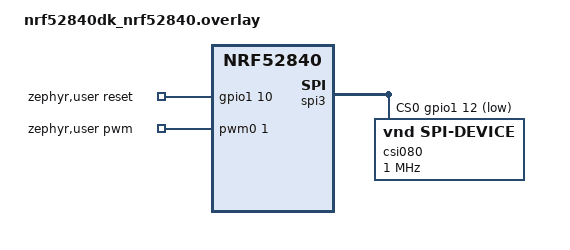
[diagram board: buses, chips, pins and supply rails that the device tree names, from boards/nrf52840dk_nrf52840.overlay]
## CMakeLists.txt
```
cmake_minimum_required(VERSION 3.20.0)
find_package(Zephyr REQUIRED HINTS $ENV{ZEPHYR_BASE})

project(CSI080)

target_sources(app PRIVATE src/main.c)
target_sources(app PRIVATE src/spi_drv.c)
target_sources(app PRIVATE src/uart_drv.c)
target_sources(app PRIVATE src/operations.c)
```

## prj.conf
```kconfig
CONFIG_LOG=y
CONFIG_CBPRINTF_FP_SUPPORT=y
CONFIG_RESET_ON_FATAL_ERROR=n
CONFIG_GPIO=y
CONFIG_SPI=y
CONFIG_STDOUT_CONSOLE=y
CONFIG_TIMER=y
CONFIG_PWM=y
CONFIG_SERIAL=y
CONFIG_UART_ASYNC_API=y
CONFIG_NUM_COOP_PRIORITIES=5
CONFIG_NUM_PREEMPT_PRIORITIES=5
CONFIG_BOOT_BANNER_STRING="Initializing NeuroSense"
CONFIG_IDLE_STACK_SIZE=640
CONFIG_PRIVILEGED_STACK_SIZE=2048
CONFIG_MPSL_WORK_STACK_SIZE=2048
CONFIG_UART_0_NRF_TX_BUFFER_SIZE=64
```

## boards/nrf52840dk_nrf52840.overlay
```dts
#include <zephyr/dt-bindings/gpio/gpio.h>

// Disables unused interfaces
&i2c0 { status = "disabled";};
&spi1 { status = "disabled";};
&i2c1 { status = "disabled";};
&spi0 { status = "disabled";};
&led0 { status = "disabled";};



/ {
    zephyr,user { // Zephyr user node to set PWM for clock and reset pin
        pwms = <&pwm0 1 PWM_HZ(1000000) PWM_POLARITY_NORMAL>; 
        reset-gpios = <&gpio1 10 GPIO_ACTIVE_HIGH>;
    };
};

&pwm0_default { // Output pin for PWM clock
    group2 {
        psels = <NRF_PSEL(PWM_OUT1, 1, 11)>;
    };
};

&spi3 { // Configures SPI
    compatible = "nordic,nrf-spim";
    status = "okay";
    cs-gpios = <&gpio1 12 GPIO_ACTIVE_LOW>;
    csi080: csi080-spi@0 {
        compatible = "vnd,spi-device";
        reg = <0>;
        spi-max-frequency = <DT_FREQ_M(1)>;
    };
};
```

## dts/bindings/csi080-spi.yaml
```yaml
# Test SPI device driver. Not currently used.

description: Cirtec CSI080 Neural Impulse Sensor

compatible: "csi080-spi"

include: "spi-device.yaml"
```

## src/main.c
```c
#include <zephyr/kernel.h>
#include <zephyr/logging/log.h>
#include <zephyr/device.h>
#include <zephyr/devicetree.h>
#include <zephyr/drivers/gpio.h>
#include <stdio.h>
#include <string.h>
#include <zephyr/drivers/pwm.h>
#include "spi_drv.h"
#include "uart_drv.h"
#include "operations.h"
#include "defs.h"


/* Activate logging capability at the info level */
LOG_MODULE_REGISTER(CSI080_MAIN, LOG_LEVEL_INF);


/* Define and initialize FIFO queue and semaphores.
Prevents SPI and UART overlap. */
K_FIFO_DEFINE(uart_queue);
K_SEM_DEFINE(uart_sem, 1, 1);
K_SEM_DEFINE(decode_sem, 0, 1);
K_SEM_DEFINE(reset_sem, 0, 1);
K_TIMER_DEFINE(ch_read_timer,NULL,NULL);



/* Configure GPIO */
static const struct gpio_dt_spec button0 = GPIO_DT_SPEC_GET(SW0_NODE, gpios);
static const struct gpio_dt_spec button1 = GPIO_DT_SPEC_GET(SW1_NODE, gpios);
static const struct gpio_dt_spec reset = GPIO_DT_SPEC_GET(USER_NODE, reset_gpios);

/* Configure PWM */
static const struct pwm_dt_spec clk0 = PWM_DT_SPEC_GET_BY_IDX(USER_NODE, 0);



/**
 * @brief Functional test values for 1 channel 
 */
void ch1config(void)
{
        uint8_t size = 3;
        uint8_t reg, value;
        int valid = 0;

        /* Enable bandgap reference. All channels off. */
        reg = CONTROL_3, value = 0x20;
        csi080_spi_write(reg, value);
        valid = valid + write_validate(reg, value, size);

        /* Configure bandgap trims */
        reg = CONTROL_2, value = 0x74;
        csi080_spi_write(reg, value);
        valid = valid + write_validate(reg, value, size);

        /* Set Ch1=E1E2, Ch2=E3E4, Ch3=E5E6, Ch4=E7E8
        Disable capacitor bleed down */
        reg = CONTROL_1, value = 0x50;
        csi080_spi_write(reg, value);
        valid = valid + write_validate(reg, value, size);

        /* Set HPF = 3 Hz, Gain = 4 V/V */
        reg = CH1CONFIG_A, value = 0x90;
        csi080_spi_write(reg, value);
        valid = valid + write_validate(reg, value, size);

        /* Enable bandgap reference. Enable Ch1 */
        reg = CONTROL_3, value = 0x21;
        csi080_spi_write(reg, value);
        valid = valid + write_validate(reg, value, size);

        /* Disable Ch1 Resets */
        reg = CH1CONFIG_B, value = 0x00;
        csi080_spi_write(reg, value);
        valid = valid + write_validate(reg, value, size);

        // k_sleep(K_MSEC(500));

        if (valid == 0)
        {
                printf("Registers Set for 1 Channel\n");
        }

        else
        {
                printf("Validation Failure\r\n");
        }
}

void ch4config(void)
{
        uint8_t size = 3;
        uint8_t reg, value;
        int valid = 0;

        /* Enable bandgap reference. All channels off. */
        reg = CONTROL_3, value = 0x20;
        csi080_spi_write(reg, value);
        valid = valid + write_validate(reg, value, size);

        /* Configure bandgap trims */
        reg = CONTROL_2, value = 0x74;
        csi080_spi_write(reg, value);
        valid = valid + write_validate(reg, value, size);

        /* Set Ch1=E1E2, Ch2=E3E4, Ch3=E5E6, Ch4=E7E8
        Disable capacitor bleed down */
        reg = CONTROL_1, value = 0x50;
        csi080_spi_write(reg, value);
        valid = valid + write_validate(reg, value, size);

        /* Set Ch1 HPF = 3 Hz, Gain = 4 V/V */
        reg = CH1CONFIG_A, value = 0x92;
        csi080_spi_write(reg, value);
        valid = valid + write_validate(reg, value, size);

        /* Set Ch2 HPF = 3 Hz, Gain = 4 V/V */
        reg = CH2CONFIG_A, value = 0x92;
        csi080_spi_write(reg, value);
        valid = valid + write_validate(reg, value, size);

        /* Set Ch3 HPF = 3 Hz, Gain = 4 V/V */
        reg = CH3CONFIG_A, value = 0x92;
        csi080_spi_write(reg, value);
        valid = valid + write_validate(reg, value, size);

        /* Set Ch4 HPF = 3 Hz, Gain = 4 V/V */
        reg = CH4CONFIG_A, value = 0x92;
        csi080_spi_write(reg, value);
        valid = valid + write_validate(reg, value, size);

        /* Enable bandgap reference. Enable all Channels */
        reg = CONTROL_3, value = 0x2F;
        csi080_spi_write(reg, value);
        valid = valid + write_validate(reg, value, size);

        /* Disable Ch1 Resets */
        reg = CH1CONFIG_B, value = 0x00;
        csi080_spi_write(reg, value);
        valid = valid + write_validate(reg, value, size);

        /* Disable Ch2 Resets */
        reg = CH2CONFIG_B, value = 0x00;
        csi080_spi_write(reg, value);
        valid = valid + write_validate(reg, value, size);

        /* Disable Ch3 Resets */
        reg = CH3CONFIG_B, value = 0x00;
        csi080_spi_write(reg, value);
        valid = valid + write_validate(reg, value, size);

        /* Disable Ch4 Resets */
        reg = CH4CONFIG_B, value = 0x00;
        csi080_spi_write(reg, value);
        valid = valid + write_validate(reg, value, size);

        // k_sleep(K_MSEC(500));

        if (valid == 0)
        {
                printf("Registers Set for All Channels\n");
        }

        else
        {
                printf("Validation Failure\r\n");
        }
}


/**
 * @brief Combines high and low data bytes into single variable
 * 
 * @param high Upper 8 bits of channel data
 * @param low Lower 8 bits of channel data
 * 
 * @retval 16-bit combined channel data
 */
uint16_t concat(uint8_t high, uint8_t low)
{
        /* Shifts high right 8 bits and appends low */
        return (high << 8) | low;
}


/**
 * @brief Reads data from channel one and displays in mV
 */
void ch1readdata(void) /* Make ch#readdata(chan) 
                        or merge into "data_collect"*/
{
        uint8_t size = 4;
        uint8_t reg, data[size];
        uint16_t data_out;
        float v_out;

        reg = DATA_CH1L; /* Burst read also reads from DATA_CH1H */
        csi080_spi_read(reg, size, data);
        data_out = concat(data[3], data[2]);
        v_out = data_out * 24.4;
        printf("%f\n",v_out/1000);
}


/**
 * @brief Clock test function. Delete in final version.
 */
void dmuxupdate(void)
{
        uint8_t reg, value, value2, value3;
        reg = 0x15;
        value = 0x03;
        value2 = 0x20;
        value3 = 0x21;

        printf("Enabling test mode\n");
        csi080_spi_write(reg, value);
        csi080_spi_write(reg, value2);
        csi080_spi_write(reg, value3);

        reg = 0x017;
        value = 0x20;
        printf("Setting DMUX out to clocks\n");
        csi080_spi_write(reg, value);
        k_sleep(K_MSEC(500));
}


/**
 * @brief Reads all register values for testing. Delete in final version
 */
void readall(void)
{
        uint8_t size = 3;
        int i, j;
        uint8_t reg, data[size];
        uint16_t full_reg;

        for (j = 0x000; j <= 0x100; j += 0x100)
        {
                for (i = 0x00; i <= 0xff; i++)
                {
                        reg = i;
                        full_reg = i + j;
                        if (j == 0)
                        {
                                csi080_spi_read(reg, size, data);
                        }

                        else
                        {
                                csi080_spi_read_t(reg, size, data);
                        }
                        
                        if (data[2] != 0)
                        {
                                printf("Register: %#.3X. Value: %#.2X\n",full_reg, data[2]);
                        }
                }
        }
        printf("Reading of all registers is complete.\n");
        k_sleep(K_MSEC(500));
}




/**
 * @brief Main nRF52840 function. Needs significant cleanup before final.
 */
int main(void)
{
        /* Define variables */
        int err;

        /* Configure push button interupts */
        gpio_pin_configure_dt(&button0, GPIO_INPUT);
        gpio_pin_interrupt_configure_dt(&button0, GPIO_INT_EDGE_TO_ACTIVE);
        gpio_pin_configure_dt(&button1, GPIO_INPUT);
        gpio_pin_interrupt_configure_dt(&button1, GPIO_INT_EDGE_TO_ACTIVE);

        /* Configure reset pin */
        gpio_pin_configure_dt(&reset, GPIO_OUTPUT_INACTIVE);

        /* Delay to allow for device startup */
        k_sleep(K_MSEC(500));

        /* Verify SPI, GPIO, and PWM are ready */
        err = csi080_spi_start();
        if (!err) 
        {
                printf("Error: SPI device failed to start, err: %d\n", err);
        }

        err = gpio_is_ready_dt(&button0);
        if (!err) 
        {
                printf("Error: GPIO device is not ready, err: %d\n", err);
        }

        err = pwm_is_ready_dt(&clk0);
        if (!err) 
        {
                printf("Error: PWM device is not ready, err: %d\n", err);
        }

        /* Set PWM pulse length for external clock */
        pwm_set_pulse_dt(&clk0, 500);

        /* Prompt for input */
        printf("System Ready...\n");
        
        /* Wait for button press */
        while (1)
        {
                int button0_status = gpio_pin_get_dt(&button0);
                if (button0_status != 0)
                {               
                        ch1config();
                }
                int button1_status = gpio_pin_get_dt(&button1);
                if (button1_status != 0)
                {
                        /* Signal data start point, collect channel data
                        and signal data end point */
                        printf("data_start\n");
                        for (int i = 0; i < 5000; i++)
                        {
                                ch1readdata();
                        } 
                        k_sleep(K_MSEC(100));
                        printf("data_end\n");
                }
        }
        return 0;
}
```

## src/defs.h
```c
#ifndef DEFS_H
#define DEFS_H

/* FIFO structure for transfering data from uart_cb()
to decode() */
typedef struct fifo_uart {
    void *fifo_reserved; // FIFO reserved
    char data[10];
    int length;
} fifo_uart;

/* Define global constants */
    /* Registers */
#define STATUS          0x00
#define DATA_CH1L       0x01
#define DATA_CH1H       0x02
#define DATA_CH2L       0x03
#define DATA_CH2H       0x04
#define DATA_CH3L       0x05
#define DATA_CH3H       0x06
#define DATA_CH4L       0x07
#define DATA_CH4H       0x08
#define CONTROL_1       0x09
#define CONTROL_2       0x0A
#define CONTROL_3       0x0B
#define CONTROL_4       0x0C
#define CH1CONFIG_A     0x0D
#define CH1CONFIG_B     0x0E
#define CH2CONFIG_A     0x0F
#define CH2CONFIG_B     0x10
#define CH3CONFIG_A     0x11
#define CH3CONFIG_B     0x12
#define CH4CONFIG_A     0x13
#define CH4CONFIG_B     0x14
    /* OPCODEs */
#define COLLECT_DATA    67 //"C"
#define READ_REG        82 //"R"
#define UPDATE_REG      85 //"U"
#define PRESET_CFG      80 //"P"
    /* Read/Write */
#define READ            0x30
#define READ_T          0x31
#define WRITE           0x20
#define WRITE_T         0x21
    /* Misc */
#define SLEEP_TIME      K_MSEC(1000)
#define RCV_BUFF_SIZE   16
#define RCV_TIMEOUT     100


/* Define global nodes */
#define SW0_NODE        DT_ALIAS(sw0)
#define SW1_NODE        DT_ALIAS(sw1)
#define USER_NODE       DT_PATH(zephyr_user)
#define CSI080_NODE     DT_NODELABEL(csi080)
#define UART_NODE       DT_NODELABEL(uart0)


#endif
```

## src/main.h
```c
#ifndef MAIN_H
#define MAIN_H

/**
 * @brief Functional test values for 1 channel 
 */
void ch1config(void);

/**
 * @brief Functional test values for all channels 
 */
void ch4config(void);


/**
 * @brief Combines high and low data bytes into single variable
 * 
 * @param high Upper 8 bits of channel data
 * @param low Lower 8 bits of channel data
 * 
 * @retval 16-bit combined channel data
 */
uint16_t concat(uint8_t high, uint8_t low);

/**
 * @brief Reads data from channel one and displays in mV
 */
void ch1readdata(void);

/**
 * @brief Clock test function. Delete in final version.
 */
void dmuxupdate(void);

/**
 * @brief Reads all register values for testing. Delete in final version
 */
void readall(void);

/**
 * @brief Main nRF52840 function. Needs significant cleanup before final.
 */
int main(void);

#endif
```

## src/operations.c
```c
#include <zephyr/kernel.h>
#include <zephyr/device.h>
#include <zephyr/devicetree.h>
#include <zephyr/drivers/gpio.h>
#include <zephyr/drivers/uart.h>
#include <stdio.h>
#include <string.h>
#include "uart_drv.h"
#include "spi_drv.h"
#include "main.h"
#include "defs.h"
#include "operations.h"

/* Define Constants */
#define THREAD_STACK    8192
#define THREAD_PRIORITY -1

/* Identifies external struct definitions */
extern struct k_fifo uart_queue;
extern struct k_sem uart_sem;
extern struct k_sem decode_sem;
extern struct k_sem reset_sem;
extern const k_tid_t uart_cb_thread;
extern struct k_timer ch_read_timer;


void update_reg(uint8_t reg, uint8_t val, uint8_t size)
{

    // printf("Register is 0x%02X. In dec: %u\r\n",reg, reg);
    // printf("Value is 0x%02X. In dec: %u\r\n",val,val);

    csi080_spi_write(reg,val);
    if (write_validate(reg,val,size) == 0)
    {
        printf("Register 0x%02X updated to 0x%02X\r\n",reg, val);
    }
    else
    {
        printf("Failed to update register 0x%02X\r\n",reg);
    }
}


void read_reg(uint8_t reg, uint8_t size)
{
    uint8_t data[size];

    // printf("Register is 0x%02X. In dec: %u\r\n",reg, reg);

    csi080_spi_read(reg,size,data);

    printf("Register: 0x%02X. Value: 0x%02X\n",reg, data[2]);
    // printf("Data: %X %X %X\r\n",data[0],data[1],data[2]);
}


void data_collect(uint8_t channels, unsigned samples)
{
    /* Fix to around 500 samples/sec */
    k_thread_suspend(uart_cb_thread);
    
    // uint8_t size = 4;
    uint8_t size = channels*2+2;
    uint8_t reg, data[size];
    uint16_t data_out;
    float v_out;
    reg = DATA_CH1L;

        
    printf("data_start\n");
    for (int i = 0; i < (samples); i++)
    {
        // k_timer_start(&ch_read_timer, K_USEC(500), K_NO_WAIT);

        // k_timer_status_sync(&ch_read_timer);

        csi080_spi_read(reg, size, data);

        for (int j = 0; j < (size); j++)
        {
            data_out = concat(data[j+3], data[j+2]);
            v_out = data_out * 24.4;
            printf("ch%d\n",j+1);
            printf("%f\n",v_out/1000);
        }
    }
    printf("data_end\n");
    k_sleep(K_MSEC(100));
    k_thread_resume(uart_cb_thread);

}

void chconfig(uint8_t channels)
{
    ch4config();
}

// READ ALL CONFIGS TO DISPLAY IN GUI?? OR AT LEAST SHOW IN TEXT


void decode(void)
{
    /* Define variables */
    char dat[10];
    uint8_t len;
    uint8_t size = 3;
    char reg_str[3] = "00";
    char val_str[3] = "00";
    unsigned reg;
    unsigned val;
    unsigned chan;
    unsigned samp;

    /* Create FIFO queue struct */
    fifo_uart *data_in;
    
    while (1)
    {
        /* Verify control by taking semaphore */
        k_sem_take(&decode_sem, K_FOREVER);

        /* Remove data from FIFO queue.
        Any executable code between "k_sem_take(...)" and "data_in = ..."
        will cause the execution to fail. */
        data_in = k_fifo_get(&uart_queue,K_FOREVER);

        /* Split data into individual variables */
        strcpy(dat, data_in->data);
        len = data_in->length;

        /* Convert string inputs to hex */
        reg_str[0] = dat[1]; reg_str[1] = dat[2];
        sscanf(reg_str, "%X", &reg);
        val_str[0] = dat[3]; val_str[1] = dat[4];
        sscanf(val_str, "%X", &val);

        switch (dat[0])
        {
            case UPDATE_REG:
                printf("Updating Register 0x%02X to 0x%02X\r\n", reg, val);
                update_reg(reg, val, size);
                break;

            case READ_REG:
                printf("Reading value of register 0x%02X\r\n", reg);
                read_reg(reg,size);
                break;

            case COLLECT_DATA:
                chan = reg;
                samp = val*100;

                printf("Starting data collection of %d channel(s) for %d samples\r\n",
                        chan, samp);
                data_collect(reg, samp);
                break;

            case PRESET_CFG:
                chan = reg;
                printf("Configuring %d channel(s)\r\n",chan);
                /* Make into sub_function for selection? */
                chconfig(chan); 
                break;

            default:
                printf("I don't know what you want\r\n");
                break;
        }

        k_sem_give(&uart_sem);
        

        k_sleep(K_MSEC(250));
    }
}
K_THREAD_DEFINE(decode_thread, THREAD_STACK, decode, NULL, NULL, NULL,
                THREAD_PRIORITY, K_ESSENTIAL, 0);
```

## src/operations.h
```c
#ifndef CMD_DECODE_H
#define CMD_DECODE_H


/**
 * @brief Writes value to register and verifies change
 * 
 * @param reg 8-Bit register address
 * @param val 8-Bit value to write to the register
 * @param size Size in bytes of requested data
 */
void update_reg(uint8_t reg, uint8_t val, uint8_t size);


/**
 * @brief Writes value of register
 * 
 * @param reg 8-Bit register address
 * @param size Size in bytes of requested data
 */
void read_reg(uint8_t reg, uint8_t size);


/**
 * @brief Collects data from desired number of channels
 *  and displays in mV
 * 
 * @param channels How many channels to pull from (1-4)
 * @param samples Number of samples to collect
 */
void data_collect(uint8_t channels, unsigned samples);


/**
 * @brief Runs preset configuarion on desired number
 *  of channels
 * 
 * @param channels How many channels to configure from (1-4)
 */
void chconfig(uint8_t channels);

/**
 * @brief Decodes data received from the UART buffer
 */
void decode(void);


#endif
```

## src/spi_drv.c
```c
#include <zephyr/drivers/spi.h>
#include <zephyr/logging/log.h>
#include "spi_drv.h"
#include "main.h"
#include "operations.h"
#include "defs.h"

/* Activate logging capability at the info level */
LOG_MODULE_REGISTER(CSI080_SPI, LOG_LEVEL_INF);


/* Define options and configure SPI */
#define SPIOP           SPI_WORD_SET(8) | SPI_TRANSFER_MSB
struct spi_dt_spec spispec = SPI_DT_SPEC_GET(CSI080_NODE, SPIOP, 0);

bool csi080_spi_start(void)
{
        printf("Starting SPI\r\n");

        /* Start SPI by verifying ready */
        int err = spi_is_ready_dt(&spispec);
        if (!err)
        {
                LOG_ERR("Failed to start SPI");
                return false;
        }

        return true;
}

void csi080_spi_write(uint8_t reg, uint8_t value)
{
        /* Build tx buffer. Update to support burst write. */
        uint8_t tx_buf[] = {WRITE, reg, value};
        struct spi_buf tx_spi_buf = {.buf = tx_buf, .len = sizeof(tx_buf)};
        struct spi_buf_set tx_spi_buf_set = {.buffers = &tx_spi_buf, .count = 1};

        /* Write tx buffer over SPI */
        int err = spi_write_dt(&spispec, &tx_spi_buf_set);
        if (err < 0) 
        {
                LOG_ERR("spi_write_dt() failed, err %d", err);
        }
}

void csi080_spi_read(uint8_t reg, uint8_t size, uint8_t *rx_data)
{
        /* Build tx buffer. CSI080 requires tx before rx to identify
        proper register. */
        uint8_t tx_buf[] = {READ, reg};
        struct spi_buf tx_spi_buf = {.buf = (void *)&tx_buf, .len = 2};
        struct spi_buf_set tx_spi_buf_set = {.buffers = &tx_spi_buf, .count = 1};

        /* Build rx buffer. Burst read when size > 3 */
        struct spi_buf rx_spi_buf = {.buf = rx_data, .len = size};
        struct spi_buf_set rx_spi_buf_set = {.buffers = &rx_spi_buf, .count = 1};
        /* Write tx buffer then read to rx buffer using SPI */
	int err = spi_transceive_dt(&spispec, &tx_spi_buf_set, &rx_spi_buf_set);

        if (err < 0) 
        {
                LOG_ERR("spi_transceive_dt() failed, err %d", err);
        }
}
/* Merge into csi080_spi_read()? */
void csi080_spi_read_t(uint8_t reg, uint8_t size, uint8_t *rx_data)
{

        uint8_t tx_buf[] = {READ_T, reg};
        struct spi_buf tx_spi_buf = {.buf = (void *)&tx_buf, .len = 2};
        struct spi_buf_set tx_spi_buf_set = {.buffers = &tx_spi_buf, .count = 1};

        struct spi_buf rx_spi_buf = {.buf = rx_data, .len = size};
        struct spi_buf_set rx_spi_buf_set = {.buffers = &rx_spi_buf, .count = 1};

	int err = spi_transceive_dt(&spispec, &tx_spi_buf_set, &rx_spi_buf_set);

        if (err < 0) 
        {
                LOG_ERR("spi_transceive_dt() failed, err %d", err);
        }
}

int write_validate(uint8_t reg, uint8_t value, uint8_t size)
{

        uint8_t data[size];
        csi080_spi_read(reg,size,data);
        // printf("VAL: Reg:%X Size:%u\r\n",reg, size);
        // printf("VAL: Data: %X %X %X\r\n",data[0],data[1],data[2]);
        if (value != data[size-1])
        {
                printf("Value error on 0x%02X\n",reg);
                printf("Actual value is 0x%02X\n",data[size-1]);
                printf("Expected value is 0x%02X\n",value);

                return 1;
        }
        else
        {
                return 0;
        }
}
```

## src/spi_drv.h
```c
#ifndef SPI_DRV_H
#define SPI_DRV_H

/**
 * @brief CSI080 SPI Startup Function
 *
 * @details CSI080 SPI Startup Function: Verifies SPI is configured and ready
 *
 * @retval true if SPI started
 * @retval false if SPI failed to start 
 */
bool csi080_spi_start(void);

/**
 * @brief CSI080 SPI Write Function.
 *
 * @details CSI080 SPI Write function: Sends the write instruction, register address, and register value to the CSI080 over SPI.
 *
 * @param reg 8-bit target register address.
 * @param value 8-bit value to write to the register.
 */
void csi080_spi_write(uint8_t reg, uint8_t value);

/**
 * @brief CSI080 SPI Read Function.
 *
 * @details CSI080 SPI Read function: Sends the read instruction and target register address to the CSI080 over SPI.
 *
 * @param reg 8-bit target register address.
 * @param size Size in bytes of requested data.
 * @param rx_data Variable to store the received data.
 */
void csi080_spi_read(uint8_t reg, uint8_t size, uint8_t *rx_data);

/**
 * @brief CSI080 SPI Test Register Read Function.
 *
 * @details CSI080 SPI Test Register Read function: Sends the read instruction and target register address to the CSI080 over SPI for 9-bit addresses.
 *
 * @param reg 8-bit target register address.
 * @param size Size in bytes of requested data.
 * @param rx_data Variable to store the received data.
 */
void csi080_spi_read_t(uint8_t reg, uint8_t size, uint8_t *rx_data);

/**
* @brief Performs write validation on updated register values
*
* @param reg 8-bit targer register address
* @param value 8-bit expected register value
* @param size Size in bytes of requested data
* 
* @retval 0 if write validated
* @retval 1 if write invalid
*/
int write_validate(uint8_t reg, uint8_t value, uint8_t size);

#endif
```

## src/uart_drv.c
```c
#include <zephyr/kernel.h>
#include <zephyr/device.h>
#include <zephyr/devicetree.h>
#include <zephyr/drivers/gpio.h>
#include <zephyr/drivers/uart.h>
#include <stdio.h>
#include <string.h>
#include "uart_drv.h"
#include "spi_drv.h"
#include "operations.h"
#include "main.h"
#include "defs.h"

/* Define Constants */
#define THREAD_STACK    8192
#define THREAD_PRIORITY 1

/* Configure UART */
const struct device *uart = DEVICE_DT_GET(UART_NODE);

/* Define Receive Buffer */
static uint8_t rx_buff[RCV_BUFF_SIZE] = {0};

/* Shortens struct name for clarity */
struct uart_event_rx rx;

/* Identifies external struct definitions */
extern struct k_fifo uart_queue;
extern struct k_sem uart_sem;
extern struct k_sem decode_sem;
extern struct k_sem reset_sem;



void uart_cb(const struct device *dev, struct uart_event *evt, void *user_data)
{
    /* Create FIFO queue struct */
    fifo_uart data_in;

    /* Switch to handle multiple event types */
    switch (evt->type)
    {
        /* When UART data is in rx buffer */
        case UART_RX_RDY:

            /* Verifies control by taking semaphore. */
            k_sem_take(&uart_sem, K_FOREVER);

            /* Saves UART data to rx struct. */
            rx = evt->data.rx;

            /* Saves data to FIFO queue */
            data_in.fifo_reserved = NULL;
            strcpy(data_in.data, rx.buf);
            data_in.length = rx.len;

            /* DEBUG PRINTS */
            // printf("RX buff is: %s\r\n",rx.buf);
            // printf("Data is: %s\r\n", data_in.data);
            // printf("Data length is: %u\r\n",data_in.length);

            /* Send data to FIFO queue */
            k_fifo_put(&uart_queue, &data_in);

            /* Release control to decode thread */
            k_sem_give(&decode_sem);


            k_sleep(K_MSEC(100));
            /* Disables rx to force instant reset by UART_RX_DISABLED
            event case. */
            uart_rx_disable(dev);
            
            break;

        /* When UART rx functionality is disabled */
        case UART_RX_DISABLED:

            /* Restarts UART rx system */
            uart_rx_enable(dev, rx_buff, sizeof(rx_buff), RCV_TIMEOUT);
            break;

        /* Other events exists, any useful? */
        default:
            break;
    }
}


void uart_main(void)
{

    if(!device_is_ready(uart))
        printf("UART is not ready");

    /* UART output value. Informs interface of ready to rx status.
    May not be needed depending on python interface. */
    static uint8_t tx_buff[] = {"UART Started\r\n"};

    /* Points UART to callback function (uart_cb()) */
    uart_callback_set(uart, uart_cb, NULL);

    /* Sends UART tx buffer */
    uart_tx(uart, tx_buff, sizeof(tx_buff), SYS_FOREVER_MS);

    /* Starts UART rx system */
    uart_rx_enable(uart, rx_buff, sizeof(rx_buff), RCV_TIMEOUT);

    while (1)
    {
        k_sleep(K_MSEC(100));
    }

}

K_THREAD_DEFINE(uart_main_thread, THREAD_STACK, uart_main, NULL, NULL, NULL,
                THREAD_PRIORITY+1, K_ESSENTIAL, 0);
K_THREAD_DEFINE(uart_cb_thread, THREAD_STACK, uart_cb, NULL, NULL, NULL,
                THREAD_PRIORITY, 0, 0);
```

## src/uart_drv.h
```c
#ifndef UART_DRV_H
#define UART_DRV_H

/* Declare struct */
struct uart_event;


/**
 * @brief UART Callback function. Provides event handling.
 * 
 * @param dev Pointer to UART device
 * @param evt Pointer to UART event
 * @param user_data Pointer to user provided variables - unused
 */
void uart_cb(const struct device *dev, struct uart_event *evt, void *user_data);


/**
 * @brief Main UART function
 */
void uart_main(void);

#endif
```
